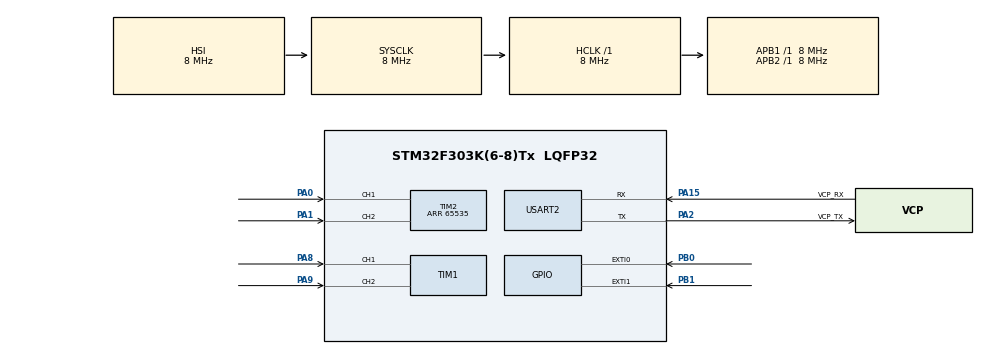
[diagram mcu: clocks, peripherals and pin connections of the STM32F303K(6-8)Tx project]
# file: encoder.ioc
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Mcu.Family=STM32F3
Mcu.Name=STM32F303K(6-8)Tx
Mcu.Package=LQFP32
NVIC.EXTI0_IRQn=true\:0\:0\:false\:false\:true\:true\:true\:true
NVIC.EXTI1_IRQn=true\:0\:0\:false\:false\:true\:true\:true\:true
NVIC.PriorityGroup=NVIC_PRIORITYGROUP_4
PA0.Signal=S_TIM2_CH1_ETR
PA1.Signal=S_TIM2_CH2
PA13.GPIO_Label=SWDIO
PA13.Mode=Serial_Wire
PA13.Signal=SYS_JTMS-SWDIO
PA14.GPIO_Label=SWCLK
PA14.Mode=Serial_Wire
PA14.Signal=SYS_JTCK-SWCLK
PA15.GPIO_Label=VCP_RX
PA15.Mode=Asynchronous
PA15.Signal=USART2_RX
PA2.GPIO_Label=VCP_TX
PA2.Mode=Asynchronous
PA2.Signal=USART2_TX
PA8.Signal=S_TIM1_CH1
PA9.Signal=S_TIM1_CH2
PB0.GPIO_ModeDefaultEXTI=GPIO_MODE_IT_FALLING
PB0.Signal=GPXTI0
PB1.GPIO_ModeDefaultEXTI=GPIO_MODE_IT_FALLING
PB1.Signal=GPXTI1
PF0\ /\ OSC_IN.GPIO_Label=MCO
PF0\ /\ OSC_IN.Mode=HSE-External-Clock-Source
PF0\ /\ OSC_IN.Signal=RCC_OSC_IN
ProjectManager.HeapSize=0x200
ProjectManager.StackSize=0x400
ProjectManager.TargetToolchain=STM32CubeIDE
RCC.AHBFreq_Value=8000000
RCC.APB1Freq_Value=8000000
RCC.APB2Freq_Value=8000000
RCC.CortexFreq_Value=8000000
RCC.HSE_VALUE=8000000
RCC.HSI_VALUE=8000000
RCC.SYSCLKFreq_VALUE=8000000
SH.S_TIM1_CH1.0=TIM1_CH1,Encoder_Interface
SH.S_TIM1_CH2.0=TIM1_CH2,Encoder_Interface
SH.S_TIM2_CH1_ETR.0=TIM2_CH1,Encoder_Interface
SH.S_TIM2_CH2.0=TIM2_CH2,Encoder_Interface
TIM1.EncoderMode=TIM_ENCODERMODE_TI12
TIM2.EncoderMode=TIM_ENCODERMODE_TI12
TIM2.Period=65535
TIM3.Period=1000-1
TIM3.Prescaler=24-1
USART2.VirtualMode-Asynchronous=VM_ASYNC
VP_TIM3_VS_ClockSourceINT.Mode=Internal
board=NUCLEO-F303K8

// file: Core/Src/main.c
/* USER CODE BEGIN Header */
/**
  ******************************************************************************
  * @file           : main.c
  * @brief          : Main program body
  ******************************************************************************
  * @attention
  *
  * Copyright (c) 2024 STMicroelectronics.
  * All rights reserved.
  *
  * This software is licensed under terms that can be found in the LICENSE file
  * in the root directory of this software component.
  * If no LICENSE file comes with this software, it is provided AS-IS.
  *
  ******************************************************************************
  */
/* USER CODE END Header */
#include "main.h"

/* USER CODE BEGIN Includes */
#include "stdio.h"
 #include "String.h"
#include "stdbool.h"
/* USER CODE END Includes */

TIM_HandleTypeDef htim1;
TIM_HandleTypeDef htim2;
TIM_HandleTypeDef htim3;

UART_HandleTypeDef huart2;

void SystemClock_Config(void);
static void MX_GPIO_Init(void);
static void MX_TIM1_Init(void);
static void MX_TIM2_Init(void);
static void MX_TIM3_Init(void);
static void MX_USART2_UART_Init(void);

/* USER CODE BEGIN 0 */
void HAL_GPIO_EXTI_Callback(uint16_t GPIO_Pin){
    if (GPIO_Pin == GPIO_PIN_0) {
        __HAL_TIM_SET_COUNTER(&htim1, 0);
        HAL_UART_Transmit(&huart2, (uint8_t *)"Encoder 1 reset\r\n", 18, 0xFFFF);
    } else if (GPIO_Pin == GPIO_PIN_1) {
        __HAL_TIM_SET_COUNTER(&htim2, 0);
        HAL_UART_Transmit(&huart2, (uint8_t *)"Encoder 2 reset\r\n", 18, 0xFFFF);
    }
}
/* USER CODE END 0 */

int main(void)
{

  /* MCU Configuration--------------------------------------------------------*/

  /* Reset of all peripherals, Initializes the Flash interface and the Systick. */
  HAL_Init();

  /* Configure the system clock */
  SystemClock_Config();

  /* Initialize all configured peripherals */
  MX_GPIO_Init();
  MX_TIM1_Init();
  MX_TIM2_Init();
  MX_TIM3_Init();
  MX_USART2_UART_Init();
  /* USER CODE BEGIN 2 */
  HAL_UART_Transmit( &huart2, "Start EncorderMode\r\n", 20, 0xFFFF);
  HAL_TIM_Encoder_Start(&htim1,TIM_CHANNEL_ALL);
  HAL_TIM_Encoder_Start(&htim2,TIM_CHANNEL_ALL);
  int cnt1,cnt2;
  char scnt1[100];
  char scnt2[100];
  /* USER CODE END 2 */

  /* Infinite loop */
  /* USER CODE BEGIN WHILE */
  while (1)
  {
	  cnt1 = __HAL_TIM_GET_COUNTER(&htim1);
	  sprintf(scnt1, "enc1 : %d\r\n", cnt1);
	  HAL_UART_Transmit( &huart2,(uint8_t *)scnt1, strlen(scnt1) + 1, 0xFFFF);
	  HAL_Delay( 300 );
	  cnt2 = __HAL_TIM_GET_COUNTER(&htim2);
	  sprintf(scnt2, "enc2 : %d\r\n", cnt2);
	  HAL_UART_Transmit( &huart2,(uint8_t *)scnt2, strlen(scnt2) + 1, 0xFFFF);
	  HAL_Delay( 300 );
    /* USER CODE END WHILE */

  }
}

void SystemClock_Config(void)
{
  RCC_OscInitTypeDef RCC_OscInitStruct = {0};
  RCC_ClkInitTypeDef RCC_ClkInitStruct = {0};
  RCC_PeriphCLKInitTypeDef PeriphClkInit = {0};

  /** Initializes the RCC Oscillators according to the specified parameters
  * in the RCC_OscInitTypeDef structure.
  */
  RCC_OscInitStruct.OscillatorType = RCC_OSCILLATORTYPE_HSI;
  RCC_OscInitStruct.HSIState = RCC_HSI_ON;
  RCC_OscInitStruct.HSICalibrationValue = RCC_HSICALIBRATION_DEFAULT;
  RCC_OscInitStruct.PLL.PLLState = RCC_PLL_NONE;
  if (HAL_RCC_OscConfig(&RCC_OscInitStruct) != HAL_OK)
  {
    Error_Handler();
  }

  /** Initializes the CPU, AHB and APB buses clocks
  */
  RCC_ClkInitStruct.ClockType = RCC_CLOCKTYPE_HCLK|RCC_CLOCKTYPE_SYSCLK
                              |RCC_CLOCKTYPE_PCLK1|RCC_CLOCKTYPE_PCLK2;
  RCC_ClkInitStruct.SYSCLKSource = RCC_SYSCLKSOURCE_HSI;
  RCC_ClkInitStruct.AHBCLKDivider = RCC_SYSCLK_DIV1;
  RCC_ClkInitStruct.APB1CLKDivider = RCC_HCLK_DIV1;
  RCC_ClkInitStruct.APB2CLKDivider = RCC_HCLK_DIV1;

  if (HAL_RCC_ClockConfig(&RCC_ClkInitStruct, FLASH_LATENCY_0) != HAL_OK)
  {
    Error_Handler();
  }
  PeriphClkInit.PeriphClockSelection = RCC_PERIPHCLK_TIM1;
  PeriphClkInit.Tim1ClockSelection = RCC_TIM1CLK_HCLK;
  if (HAL_RCCEx_PeriphCLKConfig(&PeriphClkInit) != HAL_OK)
  {
    Error_Handler();
  }
}

static void MX_TIM1_Init(void)
{

  TIM_Encoder_InitTypeDef sConfig = {0};
  TIM_MasterConfigTypeDef sMasterConfig = {0};

  htim1.Instance = TIM1;
  htim1.Init.Prescaler = 0;
  htim1.Init.CounterMode = TIM_COUNTERMODE_UP;
  htim1.Init.Period = 65535;
  htim1.Init.ClockDivision = TIM_CLOCKDIVISION_DIV1;
  htim1.Init.RepetitionCounter = 0;
  htim1.Init.AutoReloadPreload = TIM_AUTORELOAD_PRELOAD_DISABLE;
  sConfig.EncoderMode = TIM_ENCODERMODE_TI12;
  sConfig.IC1Polarity = TIM_ICPOLARITY_RISING;
  sConfig.IC1Selection = TIM_ICSELECTION_DIRECTTI;
  sConfig.IC1Prescaler = TIM_ICPSC_DIV1;
  sConfig.IC1Filter = 0;
  sConfig.IC2Polarity = TIM_ICPOLARITY_RISING;
  sConfig.IC2Selection = TIM_ICSELECTION_DIRECTTI;
  sConfig.IC2Prescaler = TIM_ICPSC_DIV1;
  sConfig.IC2Filter = 0;
  if (HAL_TIM_Encoder_Init(&htim1, &sConfig) != HAL_OK)
  {
    Error_Handler();
  }
  sMasterConfig.MasterOutputTrigger = TIM_TRGO_RESET;
  sMasterConfig.MasterOutputTrigger2 = TIM_TRGO2_RESET;
  sMasterConfig.MasterSlaveMode = TIM_MASTERSLAVEMODE_DISABLE;
  if (HAL_TIMEx_MasterConfigSynchronization(&htim1, &sMasterConfig) != HAL_OK)
  {
    Error_Handler();
  }

}

static void MX_TIM2_Init(void)
{

  TIM_Encoder_InitTypeDef sConfig = {0};
  TIM_MasterConfigTypeDef sMasterConfig = {0};

  htim2.Instance = TIM2;
  htim2.Init.Prescaler = 0;
  htim2.Init.CounterMode = TIM_COUNTERMODE_UP;
  htim2.Init.Period = 65535;
  htim2.Init.ClockDivision = TIM_CLOCKDIVISION_DIV1;
  htim2.Init.AutoReloadPreload = TIM_AUTORELOAD_PRELOAD_DISABLE;
  sConfig.EncoderMode = TIM_ENCODERMODE_TI12;
  sConfig.IC1Polarity = TIM_ICPOLARITY_RISING;
  sConfig.IC1Selection = TIM_ICSELECTION_DIRECTTI;
  sConfig.IC1Prescaler = TIM_ICPSC_DIV1;
  sConfig.IC1Filter = 0;
  sConfig.IC2Polarity = TIM_ICPOLARITY_RISING;
  sConfig.IC2Selection = TIM_ICSELECTION_DIRECTTI;
  sConfig.IC2Prescaler = TIM_ICPSC_DIV1;
  sConfig.IC2Filter = 0;
  if (HAL_TIM_Encoder_Init(&htim2, &sConfig) != HAL_OK)
  {
    Error_Handler();
  }
  sMasterConfig.MasterOutputTrigger = TIM_TRGO_RESET;
  sMasterConfig.MasterSlaveMode = TIM_MASTERSLAVEMODE_DISABLE;
  if (HAL_TIMEx_MasterConfigSynchronization(&htim2, &sMasterConfig) != HAL_OK)
  {
    Error_Handler();
  }

}

static void MX_TIM3_Init(void)
{

  TIM_ClockConfigTypeDef sClockSourceConfig = {0};
  TIM_MasterConfigTypeDef sMasterConfig = {0};

  htim3.Instance = TIM3;
  htim3.Init.Prescaler = 24-1;
  htim3.Init.CounterMode = TIM_COUNTERMODE_UP;
  htim3.Init.Period = 1000-1;
  htim3.Init.ClockDivision = TIM_CLOCKDIVISION_DIV1;
  htim3.Init.AutoReloadPreload = TIM_AUTORELOAD_PRELOAD_DISABLE;
  if (HAL_TIM_Base_Init(&htim3) != HAL_OK)
  {
    Error_Handler();
  }
  sClockSourceConfig.ClockSource = TIM_CLOCKSOURCE_INTERNAL;
  if (HAL_TIM_ConfigClockSource(&htim3, &sClockSourceConfig) != HAL_OK)
  {
    Error_Handler();
  }
  sMasterConfig.MasterOutputTrigger = TIM_TRGO_RESET;
  sMasterConfig.MasterSlaveMode = TIM_MASTERSLAVEMODE_DISABLE;
  if (HAL_TIMEx_MasterConfigSynchronization(&htim3, &sMasterConfig) != HAL_OK)
  {
    Error_Handler();
  }

}

static void MX_USART2_UART_Init(void)
{

  huart2.Instance = USART2;
  huart2.Init.BaudRate = 38400;
  huart2.Init.WordLength = UART_WORDLENGTH_8B;
  huart2.Init.StopBits = UART_STOPBITS_1;
  huart2.Init.Parity = UART_PARITY_NONE;
  huart2.Init.Mode = UART_MODE_TX_RX;
  huart2.Init.HwFlowCtl = UART_HWCONTROL_NONE;
  huart2.Init.OverSampling = UART_OVERSAMPLING_16;
  huart2.Init.OneBitSampling = UART_ONE_BIT_SAMPLE_DISABLE;
  huart2.AdvancedInit.AdvFeatureInit = UART_ADVFEATURE_NO_INIT;
  if (HAL_UART_Init(&huart2) != HAL_OK)
  {
    Error_Handler();
  }

}

static void MX_GPIO_Init(void)
{
  GPIO_InitTypeDef GPIO_InitStruct = {0};

  /* GPIO Ports Clock Enable */
  __HAL_RCC_GPIOF_CLK_ENABLE();
  __HAL_RCC_GPIOA_CLK_ENABLE();
  __HAL_RCC_GPIOB_CLK_ENABLE();

  /*Configure GPIO pins : PB0 PB1 */
  GPIO_InitStruct.Pin = GPIO_PIN_0|GPIO_PIN_1;
  GPIO_InitStruct.Mode = GPIO_MODE_IT_FALLING;
  GPIO_InitStruct.Pull = GPIO_NOPULL;
  HAL_GPIO_Init(GPIOB, &GPIO_InitStruct);

  /* EXTI interrupt init*/
  HAL_NVIC_SetPriority(EXTI0_IRQn, 0, 0);
  HAL_NVIC_EnableIRQ(EXTI0_IRQn);

  HAL_NVIC_SetPriority(EXTI1_IRQn, 0, 0);
  HAL_NVIC_EnableIRQ(EXTI1_IRQn);

}

void Error_Handler(void)
{
  __disable_irq();
  while (1)
  {
  }
}
